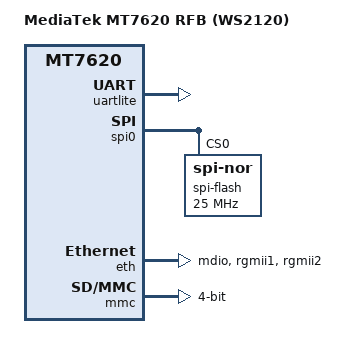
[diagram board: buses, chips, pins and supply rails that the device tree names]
// SPDX-License-Identifier: GPL-2.0
/*
 * Copyright (C) 2020 MediaTek Inc.
 *
 * Author: Weijie Gao <weijie.gao@mediatek.com>
 */

/dts-v1/;

#include <dt-bindings/gpio/gpio.h>
#include "mt7620.dtsi"

/ {
	compatible = "mediatek,mt7620-rfb", "mediatek,mt7620-soc";
	model = "MediaTek MT7620 RFB (WS2120)";

	aliases {
		serial0 = &uartlite;
		spi0 = &spi0;
	};

	chosen {
		stdout-path = &uartlite;
	};
};

&uartlite {
	status = "okay";
};

&pinctrl {
	state_default: pin_state {
		pleds {
			groups = "ephy led", "wled";
			function = "led";
		};

		gpios {
			groups = "uartf";
			function = "gpio";
		};
	};

	gsw_pins: gsw_pins {
		mdio {
			groups = "mdio";
			function = "mdio";
		};

		rgmii1 {
			groups = "rgmii1";
			function = "rgmii1";
		};

		rgmii2 {
			groups = "rgmii2";
			function = "rgmii2";
		};
	};
};

&spi0 {
	status = "okay";
	num-cs = <2>;

	spi-flash@0 {
		#address-cells = <1>;
		#size-cells = <1>;
		compatible = "jedec,spi-nor";
		spi-max-frequency = <25000000>;
		reg = <0>;
	};
};

&eth {
	status = "okay";

	pinctrl-names = "default";
	pinctrl-0 = <&gsw_pins>;

	port4 {
		phy-mode = "rgmii";
		phy-addr = <4>;
	};

	port5 {
		phy-mode = "rgmii";
		phy-addr = <5>;
	};
};

&mmc {
	bus-width = <4>;
	cap-sd-highspeed;

	status = "okay";
};
